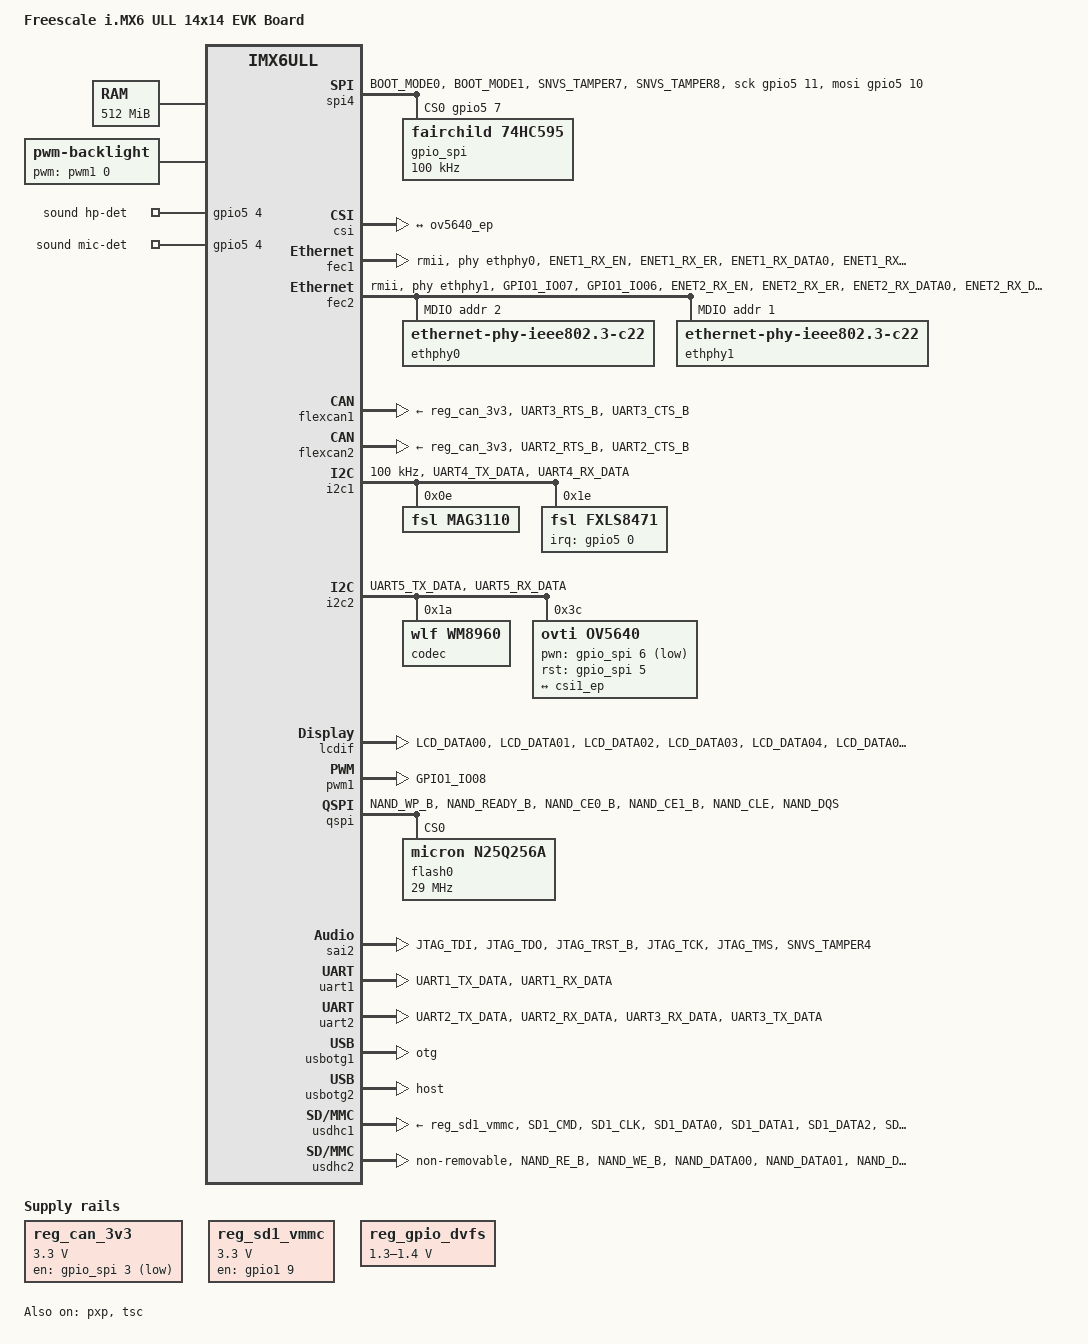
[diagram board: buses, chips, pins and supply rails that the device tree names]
/*
 * Copyright (C) 2016 Freescale Semiconductor, Inc.
 *
 * This program is free software; you can redistribute it and/or modify
 * it under the terms of the GNU General Public License version 2 as
 * published by the Free Software Foundation.
 */

/dts-v1/;

#include <dt-bindings/input/input.h>
#include "imx6ull.dtsi"

/ {
	model = "Freescale i.MX6 ULL 14x14 EVK Board";
	compatible = "fsl,imx6ull-14x14-evk", "fsl,imx6ull";

	chosen {
		stdout-path = &uart1;
	};

	memory {
		reg = <0x80000000 0x20000000>;
	};

	reserved-memory {
		#address-cells = <1>;
		#size-cells = <1>;
		ranges;

		linux,cma {
			compatible = "shared-dma-pool";
			reusable;
			size = <0x14000000>;
			linux,cma-default;
		};
	};

	backlight {
		compatible = "pwm-backlight";
		pwms = <&pwm1 0 5000000>;
		brightness-levels = <0 4 8 16 32 64 128 255>;
		default-brightness-level = <6>;
		status = "okay";
	};

	pxp_v4l2 {
		compatible = "fsl,imx6ul-pxp-v4l2", "fsl,imx6sx-pxp-v4l2", "fsl,imx6sl-pxp-v4l2";
		status = "okay";
	};

	regulators {
		compatible = "simple-bus";
		#address-cells = <1>;
		#size-cells = <0>;

		reg_can_3v3: regulator@0 {
			compatible = "regulator-fixed";
			reg = <0>;
			regulator-name = "can-3v3";
			regulator-min-microvolt = <3300000>;
			regulator-max-microvolt = <3300000>;
			gpios = <&gpio_spi 3 GPIO_ACTIVE_LOW>;
		};

		reg_sd1_vmmc: regulator@1 {
			compatible = "regulator-fixed";
			regulator-name = "VSD_3V3";
			regulator-min-microvolt = <3300000>;
			regulator-max-microvolt = <3300000>;
			gpio = <&gpio1 9 GPIO_ACTIVE_HIGH>;
			enable-active-high;
		};

		reg_gpio_dvfs: regulator-gpio {
			compatible = "regulator-gpio";
			pinctrl-names = "default";
			pinctrl-0 = <&pinctrl_dvfs>;
			regulator-min-microvolt = <1300000>;
			regulator-max-microvolt = <1400000>;
			regulator-name = "gpio_dvfs";
			regulator-type = "voltage";
			gpios = <&gpio5 3 GPIO_ACTIVE_HIGH>;
			states = <1300000 0x1 1400000 0x0>;
		};
	};

	sound {
		compatible = "fsl,imx6ul-evk-wm8960",
			   "fsl,imx-audio-wm8960";
		model = "wm8960-audio";
		cpu-dai = <&sai2>;
		audio-codec = <&codec>;
		asrc-controller = <&asrc>;
		codec-master;
		gpr = <&gpr 4 0x100000 0x100000>;
		/*
                 * hp-det = <hp-det-pin hp-det-polarity>;
		 * hp-det-pin: JD1 JD2  or JD3
		 * hp-det-polarity = 0: hp detect high for headphone
		 * hp-det-polarity = 1: hp detect high for speaker
		 */
		hp-det = <3 0>;
		hp-det-gpios = <&gpio5 4 0>;
		mic-det-gpios = <&gpio5 4 0>;
		audio-routing =
			"Headphone Jack", "HP_L",
			"Headphone Jack", "HP_R",
			"Ext Spk", "SPK_LP",
			"Ext Spk", "SPK_LN",
			"Ext Spk", "SPK_RP",
			"Ext Spk", "SPK_RN",
			"LINPUT2", "Mic Jack",
			"LINPUT3", "Mic Jack",
			"RINPUT1", "Main MIC",
			"RINPUT2", "Main MIC",
			"Mic Jack", "MICB",
			"Main MIC", "MICB",
			"CPU-Playback", "ASRC-Playback",
			"Playback", "CPU-Playback",
			"ASRC-Capture", "CPU-Capture",
			"CPU-Capture", "Capture";
	};

	spi4 {
		compatible = "spi-gpio";
		pinctrl-names = "default";
		pinctrl-0 = <&pinctrl_spi4>;
		pinctrl-assert-gpios = <&gpio5 8 GPIO_ACTIVE_LOW>;
		status = "okay";
		gpio-sck = <&gpio5 11 0>;
		gpio-mosi = <&gpio5 10 0>;
		cs-gpios = <&gpio5 7 0>;
		num-chipselects = <1>;
		#address-cells = <1>;
		#size-cells = <0>;

		gpio_spi: gpio_spi@0 {
			compatible = "fairchild,74hc595";
			gpio-controller;
			#gpio-cells = <2>;
			reg = <0>;
			registers-number = <1>;
			registers-default = /bits/ 8 <0x57>;
			spi-max-frequency = <100000>;
		};
	};
};

&cpu0 {
	arm-supply = <&reg_arm>;
	soc-supply = <&reg_soc>;
	dc-supply = <&reg_gpio_dvfs>;
};

&clks {
	assigned-clocks = <&clks IMX6UL_CLK_PLL4_AUDIO_DIV>;
	assigned-clock-rates = <786432000>;
};

&csi {
	status = "okay";

	port {
		csi1_ep: endpoint {
			remote-endpoint = <&ov5640_ep>;
		};
	};
};

&fec1 {
	pinctrl-names = "default";
	pinctrl-0 = <&pinctrl_enet1>;
	phy-mode = "rmii";
	phy-handle = <&ethphy0>;
	status = "okay";
};

&fec2 {
	pinctrl-names = "default";
	pinctrl-0 = <&pinctrl_enet2>;
	phy-mode = "rmii";
	phy-handle = <&ethphy1>;
	status = "okay";

	mdio {
		#address-cells = <1>;
		#size-cells = <0>;

		ethphy0: ethernet-phy@2 {
			compatible = "ethernet-phy-ieee802.3-c22";
			reg = <2>;
		};

		ethphy1: ethernet-phy@1 {
			compatible = "ethernet-phy-ieee802.3-c22";
			reg = <1>;
		};
	};
};

&flexcan1 {
	pinctrl-names = "default";
	pinctrl-0 = <&pinctrl_flexcan1>;
	xceiver-supply = <&reg_can_3v3>;
	status = "okay";
};

&flexcan2 {
	pinctrl-names = "default";
	pinctrl-0 = <&pinctrl_flexcan2>;
	xceiver-supply = <&reg_can_3v3>;
	status = "okay";
};

&gpc {
	fsl,cpu_pupscr_sw2iso = <0x1>;
	fsl,cpu_pupscr_sw = <0x0>;
	fsl,cpu_pdnscr_iso2sw = <0x1>;
	fsl,cpu_pdnscr_iso = <0x1>;
	fsl,ldo-bypass = <0>; /* DCDC, ldo-enable */
};

&i2c1 {
	clock-frequency = <100000>;
	pinctrl-names = "default";
	pinctrl-0 = <&pinctrl_i2c1>;
	status = "okay";

	mag3110@0e {
		compatible = "fsl,mag3110";
		reg = <0x0e>;
		position = <2>;
	};

	fxls8471@1e {
		compatible = "fsl,fxls8471";
		reg = <0x1e>;
		position = <0>;
		interrupt-parent = <&gpio5>;
		interrupts = <0 8>;
	};
};

&i2c2 {
	clock_frequency = <100000>;
	pinctrl-names = "default";
	pinctrl-0 = <&pinctrl_i2c2>;
	status = "okay";

	codec: wm8960@1a {
		compatible = "wlf,wm8960";
		reg = <0x1a>;
		clocks = <&clks IMX6UL_CLK_SAI2>;
		clock-names = "mclk";
		wlf,shared-lrclk;
	};

	ov5640: ov5640@3c {
		compatible = "ovti,ov5640";
		reg = <0x3c>;
		pinctrl-names = "default";
		pinctrl-0 = <&pinctrl_csi1>;
		clocks = <&clks IMX6UL_CLK_CSI>;
		clock-names = "csi_mclk";
		pwn-gpios = <&gpio_spi 6 1>;
		rst-gpios = <&gpio_spi 5 0>;
		csi_id = <0>;
		mclk = <24000000>;
		mclk_source = <0>;
		status = "okay";
		port {
			ov5640_ep: endpoint {
				remote-endpoint = <&csi1_ep>;
			};
		};
	};
};

&iomuxc {
	pinctrl-names = "default";
	pinctrl-0 = <&pinctrl_hog_1>;
	imx6ul-evk {
		pinctrl_hog_1: hoggrp-1 {
			fsl,pins = <
				MX6UL_PAD_UART1_RTS_B__GPIO1_IO19	0x17059 /* SD1 CD */
				MX6UL_PAD_GPIO1_IO05__USDHC1_VSELECT	0x17059 /* SD1 VSELECT */
				MX6UL_PAD_GPIO1_IO09__GPIO1_IO09        0x17059 /* SD1 RESET */
			>;
		};

		pinctrl_csi1: csi1grp {
			fsl,pins = <
				MX6UL_PAD_CSI_MCLK__CSI_MCLK		0x1b088
				MX6UL_PAD_CSI_PIXCLK__CSI_PIXCLK	0x1b088
				MX6UL_PAD_CSI_VSYNC__CSI_VSYNC		0x1b088
				MX6UL_PAD_CSI_HSYNC__CSI_HSYNC		0x1b088
				MX6UL_PAD_CSI_DATA00__CSI_DATA02	0x1b088
				MX6UL_PAD_CSI_DATA01__CSI_DATA03	0x1b088
				MX6UL_PAD_CSI_DATA02__CSI_DATA04	0x1b088
				MX6UL_PAD_CSI_DATA03__CSI_DATA05	0x1b088
				MX6UL_PAD_CSI_DATA04__CSI_DATA06	0x1b088
				MX6UL_PAD_CSI_DATA05__CSI_DATA07	0x1b088
				MX6UL_PAD_CSI_DATA06__CSI_DATA08	0x1b088
				MX6UL_PAD_CSI_DATA07__CSI_DATA09	0x1b088
			>;
		};

		pinctrl_enet1: enet1grp {
			fsl,pins = <
				MX6UL_PAD_ENET1_RX_EN__ENET1_RX_EN	0x1b0b0
				MX6UL_PAD_ENET1_RX_ER__ENET1_RX_ER	0x1b0b0
				MX6UL_PAD_ENET1_RX_DATA0__ENET1_RDATA00	0x1b0b0
				MX6UL_PAD_ENET1_RX_DATA1__ENET1_RDATA01	0x1b0b0
				MX6UL_PAD_ENET1_TX_EN__ENET1_TX_EN	0x1b0b0
				MX6UL_PAD_ENET1_TX_DATA0__ENET1_TDATA00	0x1b0b0
				MX6UL_PAD_ENET1_TX_DATA1__ENET1_TDATA01	0x1b0b0
				MX6UL_PAD_ENET1_TX_CLK__ENET1_REF_CLK1	0x4001b031
			>;
		};

		pinctrl_enet2: enet2grp {
			fsl,pins = <
				MX6UL_PAD_GPIO1_IO07__ENET2_MDC		0x1b0b0
				MX6UL_PAD_GPIO1_IO06__ENET2_MDIO	0x1b0b0
				MX6UL_PAD_ENET2_RX_EN__ENET2_RX_EN	0x1b0b0
				MX6UL_PAD_ENET2_RX_ER__ENET2_RX_ER	0x1b0b0
				MX6UL_PAD_ENET2_RX_DATA0__ENET2_RDATA00	0x1b0b0
				MX6UL_PAD_ENET2_RX_DATA1__ENET2_RDATA01	0x1b0b0
				MX6UL_PAD_ENET2_TX_EN__ENET2_TX_EN	0x1b0b0
				MX6UL_PAD_ENET2_TX_DATA0__ENET2_TDATA00	0x1b0b0
				MX6UL_PAD_ENET2_TX_DATA1__ENET2_TDATA01	0x1b0b0
				MX6UL_PAD_ENET2_TX_CLK__ENET2_REF_CLK2	0x4001b031
			>;
		};

		pinctrl_flexcan1: flexcan1grp{
			fsl,pins = <
				MX6UL_PAD_UART3_RTS_B__FLEXCAN1_RX	0x1b020
				MX6UL_PAD_UART3_CTS_B__FLEXCAN1_TX	0x1b020
			>;
		};

		pinctrl_flexcan2: flexcan2grp{
			fsl,pins = <
				MX6UL_PAD_UART2_RTS_B__FLEXCAN2_RX	0x1b020
				MX6UL_PAD_UART2_CTS_B__FLEXCAN2_TX	0x1b020
			>;
		};

		pinctrl_i2c1: i2c1grp {
			fsl,pins = <
				MX6UL_PAD_UART4_TX_DATA__I2C1_SCL 0x4001b8b0
				MX6UL_PAD_UART4_RX_DATA__I2C1_SDA 0x4001b8b0
			>;
		};

		pinctrl_i2c2: i2c2grp {
			fsl,pins = <
				MX6UL_PAD_UART5_TX_DATA__I2C2_SCL 0x4001b8b0
				MX6UL_PAD_UART5_RX_DATA__I2C2_SDA 0x4001b8b0
			>;
		};

		pinctrl_lcdif_dat: lcdifdatgrp {
			fsl,pins = <
				MX6UL_PAD_LCD_DATA00__LCDIF_DATA00  0x79
				MX6UL_PAD_LCD_DATA01__LCDIF_DATA01  0x79
				MX6UL_PAD_LCD_DATA02__LCDIF_DATA02  0x79
				MX6UL_PAD_LCD_DATA03__LCDIF_DATA03  0x79
				MX6UL_PAD_LCD_DATA04__LCDIF_DATA04  0x79
				MX6UL_PAD_LCD_DATA05__LCDIF_DATA05  0x79
				MX6UL_PAD_LCD_DATA06__LCDIF_DATA06  0x79
				MX6UL_PAD_LCD_DATA07__LCDIF_DATA07  0x79
				MX6UL_PAD_LCD_DATA08__LCDIF_DATA08  0x79
				MX6UL_PAD_LCD_DATA09__LCDIF_DATA09  0x79
				MX6UL_PAD_LCD_DATA10__LCDIF_DATA10  0x79
				MX6UL_PAD_LCD_DATA11__LCDIF_DATA11  0x79
				MX6UL_PAD_LCD_DATA12__LCDIF_DATA12  0x79
				MX6UL_PAD_LCD_DATA13__LCDIF_DATA13  0x79
				MX6UL_PAD_LCD_DATA14__LCDIF_DATA14  0x79
				MX6UL_PAD_LCD_DATA15__LCDIF_DATA15  0x79
				MX6UL_PAD_LCD_DATA16__LCDIF_DATA16  0x79
				MX6UL_PAD_LCD_DATA17__LCDIF_DATA17  0x79
				MX6UL_PAD_LCD_DATA18__LCDIF_DATA18  0x79
				MX6UL_PAD_LCD_DATA19__LCDIF_DATA19  0x79
				MX6UL_PAD_LCD_DATA20__LCDIF_DATA20  0x79
				MX6UL_PAD_LCD_DATA21__LCDIF_DATA21  0x79
				MX6UL_PAD_LCD_DATA22__LCDIF_DATA22  0x79
				MX6UL_PAD_LCD_DATA23__LCDIF_DATA23  0x79
			>;
		};

		pinctrl_lcdif_ctrl: lcdifctrlgrp {
			fsl,pins = <
				MX6UL_PAD_LCD_CLK__LCDIF_CLK	    0x79
				MX6UL_PAD_LCD_ENABLE__LCDIF_ENABLE  0x79
				MX6UL_PAD_LCD_HSYNC__LCDIF_HSYNC    0x79
				MX6UL_PAD_LCD_VSYNC__LCDIF_VSYNC    0x79
			>;
		};

		pinctrl_pwm1: pwm1grp {
			fsl,pins = <
				MX6UL_PAD_GPIO1_IO08__PWM1_OUT   0x110b0
			>;
		};

		pinctrl_qspi: qspigrp {
			fsl,pins = <
				MX6UL_PAD_NAND_WP_B__QSPI_A_SCLK      0x70a1
				MX6UL_PAD_NAND_READY_B__QSPI_A_DATA00 0x70a1
				MX6UL_PAD_NAND_CE0_B__QSPI_A_DATA01   0x70a1
				MX6UL_PAD_NAND_CE1_B__QSPI_A_DATA02   0x70a1
				MX6UL_PAD_NAND_CLE__QSPI_A_DATA03     0x70a1
				MX6UL_PAD_NAND_DQS__QSPI_A_SS0_B      0x70a1
			>;
		};

		pinctrl_sai2: sai2grp {
			fsl,pins = <
				MX6UL_PAD_JTAG_TDI__SAI2_TX_BCLK	0x17088
				MX6UL_PAD_JTAG_TDO__SAI2_TX_SYNC	0x17088
				MX6UL_PAD_JTAG_TRST_B__SAI2_TX_DATA	0x11088
				MX6UL_PAD_JTAG_TCK__SAI2_RX_DATA	0x11088
				MX6UL_PAD_JTAG_TMS__SAI2_MCLK		0x17088
			>;
		};

		pinctrl_tsc: tscgrp {
			fsl,pins = <
				MX6UL_PAD_GPIO1_IO01__GPIO1_IO01	0xb0
				MX6UL_PAD_GPIO1_IO02__GPIO1_IO02	0xb0
				MX6UL_PAD_GPIO1_IO03__GPIO1_IO03	0xb0
				MX6UL_PAD_GPIO1_IO04__GPIO1_IO04	0xb0
			>;
		};

		pinctrl_uart1: uart1grp {
			fsl,pins = <
				MX6UL_PAD_UART1_TX_DATA__UART1_DCE_TX 0x1b0b1
				MX6UL_PAD_UART1_RX_DATA__UART1_DCE_RX 0x1b0b1
			>;
		};

		pinctrl_uart2: uart2grp {
			fsl,pins = <
				MX6UL_PAD_UART2_TX_DATA__UART2_DCE_TX	0x1b0b1
				MX6UL_PAD_UART2_RX_DATA__UART2_DCE_RX	0x1b0b1
				MX6UL_PAD_UART3_RX_DATA__UART2_DCE_RTS	0x1b0b1
				MX6UL_PAD_UART3_TX_DATA__UART2_DCE_CTS	0x1b0b1
			>;
		};

		pinctrl_uart2dte: uart2dtegrp {
			fsl,pins = <
				MX6UL_PAD_UART2_TX_DATA__UART2_DTE_RX	0x1b0b1
				MX6UL_PAD_UART2_RX_DATA__UART2_DTE_TX	0x1b0b1
				MX6UL_PAD_UART3_RX_DATA__UART2_DTE_CTS	0x1b0b1
				MX6UL_PAD_UART3_TX_DATA__UART2_DTE_RTS	0x1b0b1
			>;
		};

		pinctrl_usdhc1: usdhc1grp {
			fsl,pins = <
				MX6UL_PAD_SD1_CMD__USDHC1_CMD     0x17059
				MX6UL_PAD_SD1_CLK__USDHC1_CLK     0x10071
				MX6UL_PAD_SD1_DATA0__USDHC1_DATA0 0x17059
				MX6UL_PAD_SD1_DATA1__USDHC1_DATA1 0x17059
				MX6UL_PAD_SD1_DATA2__USDHC1_DATA2 0x17059
				MX6UL_PAD_SD1_DATA3__USDHC1_DATA3 0x17059
			>;
		};

		pinctrl_usdhc1_100mhz: usdhc1grp100mhz {
			fsl,pins = <
				MX6UL_PAD_SD1_CMD__USDHC1_CMD     0x170b9
				MX6UL_PAD_SD1_CLK__USDHC1_CLK     0x100b9
				MX6UL_PAD_SD1_DATA0__USDHC1_DATA0 0x170b9
				MX6UL_PAD_SD1_DATA1__USDHC1_DATA1 0x170b9
				MX6UL_PAD_SD1_DATA2__USDHC1_DATA2 0x170b9
				MX6UL_PAD_SD1_DATA3__USDHC1_DATA3 0x170b9
			>;
		};

		pinctrl_usdhc1_200mhz: usdhc1grp200mhz {
			fsl,pins = <
				MX6UL_PAD_SD1_CMD__USDHC1_CMD     0x170f9
				MX6UL_PAD_SD1_CLK__USDHC1_CLK     0x100f9
				MX6UL_PAD_SD1_DATA0__USDHC1_DATA0 0x170f9
				MX6UL_PAD_SD1_DATA1__USDHC1_DATA1 0x170f9
				MX6UL_PAD_SD1_DATA2__USDHC1_DATA2 0x170f9
				MX6UL_PAD_SD1_DATA3__USDHC1_DATA3 0x170f9
			>;
		};

		pinctrl_usdhc2: usdhc2grp {
			fsl,pins = <
				MX6UL_PAD_NAND_RE_B__USDHC2_CLK     0x10069
				MX6UL_PAD_NAND_WE_B__USDHC2_CMD     0x17059
				MX6UL_PAD_NAND_DATA00__USDHC2_DATA0 0x17059
				MX6UL_PAD_NAND_DATA01__USDHC2_DATA1 0x17059
				MX6UL_PAD_NAND_DATA02__USDHC2_DATA2 0x17059
				MX6UL_PAD_NAND_DATA03__USDHC2_DATA3 0x17059
			>;
		};

		pinctrl_usdhc2_8bit: usdhc2grp_8bit {
			fsl,pins = <
				MX6UL_PAD_NAND_RE_B__USDHC2_CLK     0x10069
				MX6UL_PAD_NAND_WE_B__USDHC2_CMD     0x17059
				MX6UL_PAD_NAND_DATA00__USDHC2_DATA0 0x17059
				MX6UL_PAD_NAND_DATA01__USDHC2_DATA1 0x17059
				MX6UL_PAD_NAND_DATA02__USDHC2_DATA2 0x17059
				MX6UL_PAD_NAND_DATA03__USDHC2_DATA3 0x17059
				MX6UL_PAD_NAND_DATA04__USDHC2_DATA4 0x17059
				MX6UL_PAD_NAND_DATA05__USDHC2_DATA5 0x17059
				MX6UL_PAD_NAND_DATA06__USDHC2_DATA6 0x17059
				MX6UL_PAD_NAND_DATA07__USDHC2_DATA7 0x17059
			>;
		};

		pinctrl_usdhc2_8bit_100mhz: usdhc2grp_8bit_100mhz {
			fsl,pins = <
				MX6UL_PAD_NAND_RE_B__USDHC2_CLK     0x100b9
				MX6UL_PAD_NAND_WE_B__USDHC2_CMD     0x170b9
				MX6UL_PAD_NAND_DATA00__USDHC2_DATA0 0x170b9
				MX6UL_PAD_NAND_DATA01__USDHC2_DATA1 0x170b9
				MX6UL_PAD_NAND_DATA02__USDHC2_DATA2 0x170b9
				MX6UL_PAD_NAND_DATA03__USDHC2_DATA3 0x170b9
				MX6UL_PAD_NAND_DATA04__USDHC2_DATA4 0x170b9
				MX6UL_PAD_NAND_DATA05__USDHC2_DATA5 0x170b9
				MX6UL_PAD_NAND_DATA06__USDHC2_DATA6 0x170b9
				MX6UL_PAD_NAND_DATA07__USDHC2_DATA7 0x170b9
			>;
		};

		pinctrl_usdhc2_8bit_200mhz: usdhc2grp_8bit_200mhz {
			fsl,pins = <
				MX6UL_PAD_NAND_RE_B__USDHC2_CLK     0x100f9
				MX6UL_PAD_NAND_WE_B__USDHC2_CMD     0x170f9
				MX6UL_PAD_NAND_DATA00__USDHC2_DATA0 0x170f9
				MX6UL_PAD_NAND_DATA01__USDHC2_DATA1 0x170f9
				MX6UL_PAD_NAND_DATA02__USDHC2_DATA2 0x170f9
				MX6UL_PAD_NAND_DATA03__USDHC2_DATA3 0x170f9
				MX6UL_PAD_NAND_DATA04__USDHC2_DATA4 0x170f9
				MX6UL_PAD_NAND_DATA05__USDHC2_DATA5 0x170f9
				MX6UL_PAD_NAND_DATA06__USDHC2_DATA6 0x170f9
				MX6UL_PAD_NAND_DATA07__USDHC2_DATA7 0x170f9
			>;
		};

		pinctrl_wdog: wdoggrp {
			fsl,pins = <
				MX6UL_PAD_LCD_RESET__WDOG1_WDOG_ANY    0x30b0
			>;
		};
	};
};

&iomuxc_snvs {
	pinctrl-names = "default_snvs";
        pinctrl-0 = <&pinctrl_hog_2>;
        imx6ul-evk {
		pinctrl_hog_2: hoggrp-2 {
                        fsl,pins = <
                                MX6ULL_PAD_SNVS_TAMPER0__GPIO5_IO00      0x80000000
                        >;
                };

		pinctrl_dvfs: dvfsgrp {
                        fsl,pins = <
                                MX6ULL_PAD_SNVS_TAMPER3__GPIO5_IO03      0x79
                        >;
                };
		
		pinctrl_lcdif_reset: lcdifresetgrp {
                        fsl,pins = <
                                /* used for lcd reset */
                                MX6ULL_PAD_SNVS_TAMPER9__GPIO5_IO09  0x79
                        >;
                };

		pinctrl_spi4: spi4grp {
                        fsl,pins = <
                                MX6ULL_PAD_BOOT_MODE0__GPIO5_IO10        0x70a1
                                MX6ULL_PAD_BOOT_MODE1__GPIO5_IO11        0x70a1
                                MX6ULL_PAD_SNVS_TAMPER7__GPIO5_IO07      0x70a1
                                MX6ULL_PAD_SNVS_TAMPER8__GPIO5_IO08      0x80000000
                        >;
                };

                pinctrl_sai2_hp_det_b: sai2_hp_det_grp {
                        fsl,pins = <
                                MX6ULL_PAD_SNVS_TAMPER4__GPIO5_IO04   0x17059
                        >;
                };
        };
};


&lcdif {
	pinctrl-names = "default";
	pinctrl-0 = <&pinctrl_lcdif_dat
		     &pinctrl_lcdif_ctrl
		     &pinctrl_lcdif_reset>;
	display = <&display0>;
	status = "okay";

	display0: display {
		bits-per-pixel = <16>;
		bus-width = <24>;

		display-timings {
			native-mode = <&timing0>;
			timing0: timing0 {
			clock-frequency = <9200000>;
			hactive = <480>;
			vactive = <272>;
			hfront-porch = <8>;
			hback-porch = <4>;
			hsync-len = <41>;
			vback-porch = <2>;
			vfront-porch = <4>;
			vsync-len = <10>;

			hsync-active = <0>;
			vsync-active = <0>;
			de-active = <1>;
			pixelclk-active = <0>;
			};
		};
	};
};

&pwm1 {
	pinctrl-names = "default";
	pinctrl-0 = <&pinctrl_pwm1>;
	status = "okay";
};

&pxp {
	status = "okay";
};

&qspi {
	pinctrl-names = "default";
	pinctrl-0 = <&pinctrl_qspi>;
	status = "okay";
	ddrsmp=<0>;

	flash0: n25q256a@0 {
		#address-cells = <1>;
		#size-cells = <1>;
		compatible = "micron,n25q256a";
		spi-max-frequency = <29000000>;
		spi-nor,ddr-quad-read-dummy = <6>;
		reg = <0>;
	};
};

&sai2 {
	pinctrl-names = "default";
	pinctrl-0 = <&pinctrl_sai2
		     &pinctrl_sai2_hp_det_b>;

	assigned-clocks = <&clks IMX6UL_CLK_SAI2_SEL>,
			  <&clks IMX6UL_CLK_SAI2>;
	assigned-clock-parents = <&clks IMX6UL_CLK_PLL4_AUDIO_DIV>;
	assigned-clock-rates = <0>, <12288000>;

	status = "okay";
};

&tsc {
	pinctrl-names = "default";
	pinctrl-0 = <&pinctrl_tsc>;
	xnur-gpio = <&gpio1 3 GPIO_ACTIVE_LOW>;
	measure-delay-time = <0xffff>;
	pre-charge-time = <0xfff>;
	status = "okay";
};

&uart1 {
	pinctrl-names = "default";
	pinctrl-0 = <&pinctrl_uart1>;
	status = "okay";
};

&uart2 {
	pinctrl-names = "default";
	pinctrl-0 = <&pinctrl_uart2>;
	fsl,uart-has-rtscts;
	/* for DTE mode, add below change */
	/* fsl,dte-mode; */
	/* pinctrl-0 = <&pinctrl_uart2dte>; */
	status = "okay";
};

&usbotg1 {
	dr_mode = "otg";
	srp-disable;
	hnp-disable;
	adp-disable;
	status = "okay";
};

&usbotg2 {
	dr_mode = "host";
	disable-over-current;
	status = "okay";
};

&usbphy1 {
	tx-d-cal = <0x5>;
};

&usbphy2 {
	tx-d-cal = <0x5>;
};

&usdhc1 {
	pinctrl-names = "default", "state_100mhz", "state_200mhz";
	pinctrl-0 = <&pinctrl_usdhc1>;
	pinctrl-1 = <&pinctrl_usdhc1_100mhz>;
	pinctrl-2 = <&pinctrl_usdhc1_200mhz>;
	cd-gpios = <&gpio1 19 GPIO_ACTIVE_LOW>;
	keep-power-in-suspend;
	enable-sdio-wakeup;
	vmmc-supply = <&reg_sd1_vmmc>;
	status = "okay";
};

&usdhc2 {
	pinctrl-names = "default";
	pinctrl-0 = <&pinctrl_usdhc2>;
	non-removable;
	status = "okay";
};

&wdog1 {
	pinctrl-names = "default";
	pinctrl-0 = <&pinctrl_wdog>;
	fsl,wdog_b;
};
